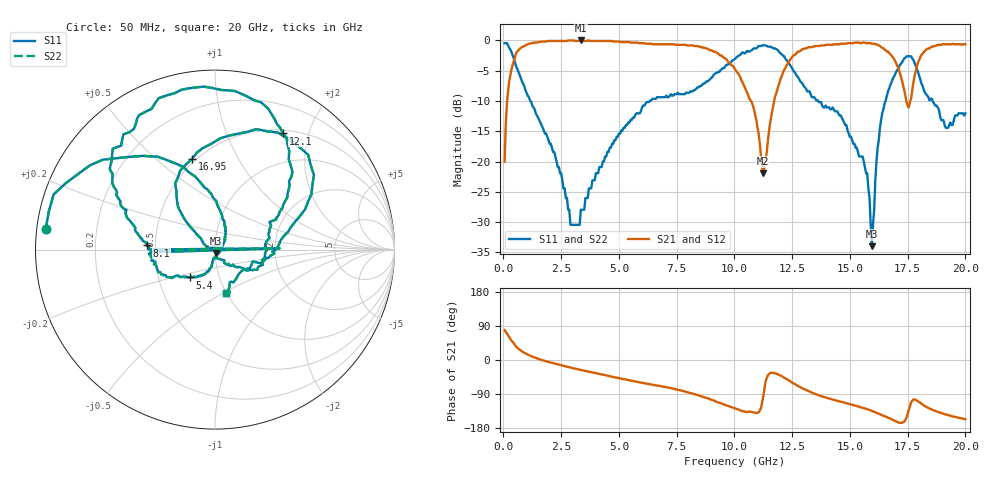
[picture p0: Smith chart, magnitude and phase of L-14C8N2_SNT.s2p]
#	mhz	s	ma	r	50
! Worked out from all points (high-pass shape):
!   400 points, 50 MHz to 20 GHz, reference 50 ohm
!   highest |S21| = 0.00 dB at 3.35 GHz (marker M1); lowest = -21.9 dB at 11.25 GHz (marker M2)
!   |S21| within 3 dB of the highest: 478.4 MHz to 9.61 GHz (9.132 GHz wide, 181 % of centre); 12.44 GHz to 16.9 GHz (4.458 GHz wide, 30.4 % of centre) (the widest 2 of 3)
!   lowest |S11| = -34.0 dB at 15.95 GHz (marker M3), VSWR 1.04, Z = 50.7 - j1.9 ohm
!   |S11| at or under -10 dB: 1.169 GHz to 6.331 GHz (5.163 GHz wide, 138 % of centre); 13.62 GHz to 16.54 GHz (2.922 GHz wide, 19.4 % of centre); 18.58 GHz to end of sweep
!   |S22| runs from -34.0 to -0.4 dB; largest |S21 - S12| = 0
!   S11 on the Smith chart (normalised r, x): 50 MHz: 0.03, +0.06; 5.4 GHz: 0.72, -0.23; 8.1 GHz: 0.45, +0.02; 12.1 GHz: 0.54, +1.61; 16.95 GHz: 0.48, +0.66; 20 GHz: 1.00, -0.52
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50  0.95 173.2  0.1 79.0  0.1 79.0  0.95 173.2
550  0.61 121.9  0.79 34.9  0.79 34.9  0.61 121.9
2900  0.03 6.3  1 -19.9  1 -19.9  0.03 6.3
3350  0.04 -81.1  1 -26.3  1 -26.3  0.04 -81.1
3400  0.04 -84.2  1 -26.9  1 -26.9  0.04 -84.2
5400  0.21 -132.3  0.97 -53.0  0.97 -53.0  0.21 -132.3
6700  0.34 -159.0  0.93 -67.8  0.93 -67.8  0.34 -159.0
7750  0.36 -177.6  0.92 -81.3  0.92 -81.3  0.36 -177.6
7800  0.36 1.1  0.92 -82.2  0.92 -82.2  0.36 1.1
7850  0.36 179.9  0.92 -83.0  0.92 -83.0  0.36 179.9
8100  0.38 176.5  0.91 -87.0  0.91 -87.0  0.38 176.5
10050  0.71 143.5  0.57 -128.6  0.57 -128.6  0.71 143.5
11250  0.91 99.3  0.08 -95.9  0.08 -95.9  0.91 99.3
12100  0.75 59.6  0.54 -44.5  0.54 -44.5  0.75 59.6
13350  0.34 26.9  0.88 -86.2  0.88 -86.2  0.34 26.9
15550  0.11 -49.7  0.96 -126.1  0.96 -126.1  0.11 -49.7
15950  0.02 -69.4  0.94 -134.2  0.94 -134.2  0.02 -69.4
16200  0.13 140.1  0.92 -140.5  0.92 -140.5  0.13 140.1
16700  0.4 122.8  0.79 -153.5  0.79 -153.5  0.4 122.8
16950  0.52 104.3  0.68 -161.0  0.68 -161.0  0.52 104.3
17750  0.69 37.0  0.45 -103.8  0.45 -103.8  0.69 37.0
20000  0.25 -75.4  0.93 -156.0  0.93 -156.0  0.25 -75.4
